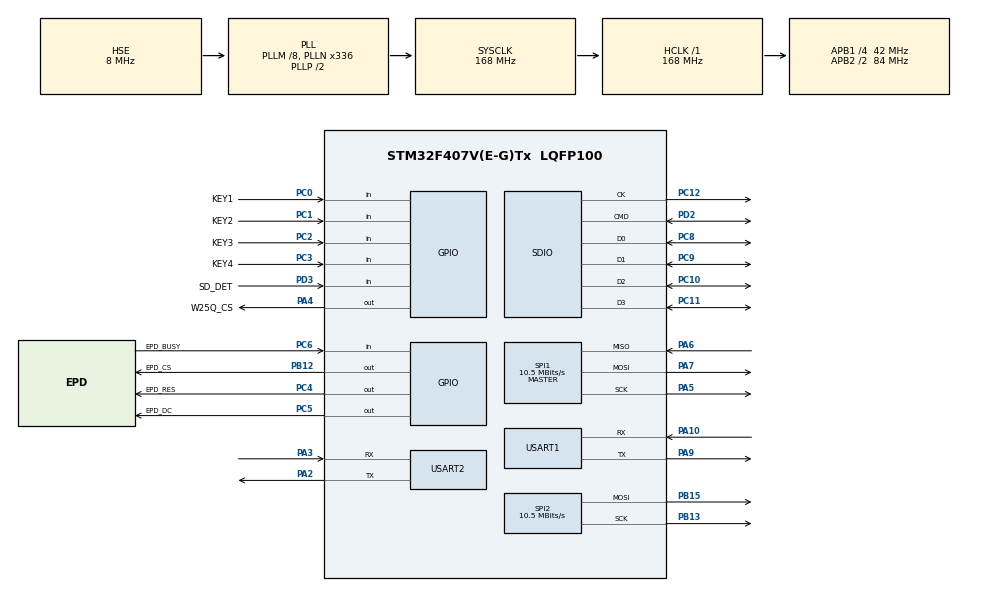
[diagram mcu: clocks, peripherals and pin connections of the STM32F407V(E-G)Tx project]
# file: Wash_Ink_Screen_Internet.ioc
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Dma.Request0=SPI1_TX
Dma.Request1=SPI2_TX
Dma.Request2=SDIO_RX
Dma.Request3=SDIO_TX
Dma.SDIO_RX.2.Direction=DMA_PERIPH_TO_MEMORY
Dma.SDIO_RX.2.FIFOMode=DMA_FIFOMODE_ENABLE
Dma.SDIO_RX.2.FIFOThreshold=DMA_FIFO_THRESHOLD_FULL
Dma.SDIO_RX.2.Instance=DMA2_Stream6
Dma.SDIO_RX.2.MemBurst=DMA_MBURST_INC4
Dma.SDIO_RX.2.MemDataAlignment=DMA_MDATAALIGN_WORD
Dma.SDIO_RX.2.MemInc=DMA_MINC_ENABLE
Dma.SDIO_RX.2.Mode=DMA_PFCTRL
Dma.SDIO_RX.2.PeriphBurst=DMA_PBURST_INC4
Dma.SDIO_RX.2.PeriphDataAlignment=DMA_PDATAALIGN_WORD
Dma.SDIO_RX.2.PeriphInc=DMA_PINC_DISABLE
Dma.SDIO_RX.2.Priority=DMA_PRIORITY_LOW
Dma.SDIO_TX.3.Direction=DMA_MEMORY_TO_PERIPH
Dma.SDIO_TX.3.FIFOMode=DMA_FIFOMODE_ENABLE
Dma.SDIO_TX.3.FIFOThreshold=DMA_FIFO_THRESHOLD_FULL
Dma.SDIO_TX.3.Instance=DMA2_Stream3
Dma.SDIO_TX.3.MemBurst=DMA_MBURST_INC4
Dma.SDIO_TX.3.MemDataAlignment=DMA_MDATAALIGN_WORD
Dma.SDIO_TX.3.MemInc=DMA_MINC_ENABLE
Dma.SDIO_TX.3.Mode=DMA_PFCTRL
Dma.SDIO_TX.3.PeriphBurst=DMA_PBURST_INC4
Dma.SDIO_TX.3.PeriphDataAlignment=DMA_PDATAALIGN_WORD
Dma.SDIO_TX.3.PeriphInc=DMA_PINC_DISABLE
Dma.SDIO_TX.3.Priority=DMA_PRIORITY_LOW
Dma.SPI1_TX.0.Direction=DMA_MEMORY_TO_PERIPH
Dma.SPI1_TX.0.FIFOMode=DMA_FIFOMODE_DISABLE
Dma.SPI1_TX.0.Instance=DMA2_Stream5
Dma.SPI1_TX.0.MemDataAlignment=DMA_MDATAALIGN_BYTE
Dma.SPI1_TX.0.MemInc=DMA_MINC_ENABLE
Dma.SPI1_TX.0.Mode=DMA_NORMAL
Dma.SPI1_TX.0.PeriphDataAlignment=DMA_PDATAALIGN_BYTE
Dma.SPI1_TX.0.PeriphInc=DMA_PINC_DISABLE
Dma.SPI1_TX.0.Priority=DMA_PRIORITY_LOW
Dma.SPI2_TX.1.Direction=DMA_MEMORY_TO_PERIPH
Dma.SPI2_TX.1.FIFOMode=DMA_FIFOMODE_DISABLE
Dma.SPI2_TX.1.Instance=DMA1_Stream4
Dma.SPI2_TX.1.MemDataAlignment=DMA_MDATAALIGN_BYTE
Dma.SPI2_TX.1.MemInc=DMA_MINC_ENABLE
Dma.SPI2_TX.1.Mode=DMA_NORMAL
Dma.SPI2_TX.1.PeriphDataAlignment=DMA_PDATAALIGN_BYTE
Dma.SPI2_TX.1.PeriphInc=DMA_PINC_DISABLE
Dma.SPI2_TX.1.Priority=DMA_PRIORITY_LOW
FATFS.BSP.number=1
FATFS._CODE_PAGE=936
FATFS._USE_LFN=3
FATFS0.BSP.STBoard=false
FATFS0.BSP.api=Unknown
FATFS0.BSP.instance=PD3
FATFS0.BSP.ip=GPIO
FATFS0.BSP.mode=Input
FATFS0.BSP.name=Detect_SDIO
FATFS0.BSP.solution=PD3
FREERTOS.Tasks01=defaultTask,24,1024,StartDefaultTask,Default,NULL,Dynamic,NULL,NULL
FREERTOS.configTOTAL_HEAP_SIZE=20480
Mcu.Family=STM32F4
Mcu.Name=STM32F407V(E-G)Tx
Mcu.Package=LQFP100
NVIC.DMA1_Stream4_IRQn=true\:6\:0\:true\:false\:true\:true\:false\:true\:true
NVIC.DMA2_Stream3_IRQn=true\:5\:0\:true\:false\:true\:true\:false\:true\:true
NVIC.DMA2_Stream5_IRQn=true\:5\:0\:false\:false\:true\:false\:false\:true\:true
NVIC.DMA2_Stream6_IRQn=true\:5\:0\:false\:false\:true\:true\:false\:true\:true
NVIC.PriorityGroup=NVIC_PRIORITYGROUP_4
NVIC.SDIO_IRQn=true\:5\:0\:false\:false\:true\:true\:true\:true\:true
NVIC.TIM6_DAC_IRQn=true\:15\:0\:false\:false\:true\:false\:false\:true\:true
NVIC.TimeBase=TIM6_DAC_IRQn
NVIC.TimeBaseIP=TIM6
NVIC.USART2_IRQn=true\:6\:0\:true\:false\:true\:true\:true\:true\:true
PA10.Mode=Asynchronous
PA10.Signal=USART1_RX
PA13.Mode=Serial_Wire
PA13.Signal=SYS_JTMS-SWDIO
PA14.Mode=Serial_Wire
PA14.Signal=SYS_JTCK-SWCLK
PA2.Mode=Asynchronous
PA2.Signal=USART2_TX
PA3.Mode=Asynchronous
PA3.Signal=USART2_RX
PA4.GPIO_Label=W25Q_CS
PA4.PinState=GPIO_PIN_SET
PA4.Signal=GPIO_Output
PA5.Mode=Full_Duplex_Master
PA5.Signal=SPI1_SCK
PA6.Mode=Full_Duplex_Master
PA6.Signal=SPI1_MISO
PA7.Mode=Full_Duplex_Master
PA7.Signal=SPI1_MOSI
PA9.Mode=Asynchronous
PA9.Signal=USART1_TX
PB12.GPIO_Label=EPD_CS
PB12.PinState=GPIO_PIN_SET
PB12.Signal=GPIO_Output
PB13.Mode=TX_Only_Simplex_Unidirect_Master
PB13.Signal=SPI2_SCK
PB15.Mode=TX_Only_Simplex_Unidirect_Master
PB15.Signal=SPI2_MOSI
PC0.GPIO_Label=KEY1
PC0.GPIO_PuPd=GPIO_PULLUP
PC0.Signal=GPIO_Input
PC1.GPIO_Label=KEY2
PC1.GPIO_PuPd=GPIO_PULLUP
PC1.Signal=GPIO_Input
PC10.Mode=SD_4_bits_Wide_bus
PC10.Signal=SDIO_D2
PC11.Mode=SD_4_bits_Wide_bus
PC11.Signal=SDIO_D3
PC12.Mode=SD_4_bits_Wide_bus
PC12.Signal=SDIO_CK
PC2.GPIO_Label=KEY3
PC2.GPIO_PuPd=GPIO_PULLUP
PC2.Signal=GPIO_Input
PC3.GPIO_Label=KEY4
PC3.GPIO_PuPd=GPIO_PULLUP
PC3.Signal=GPIO_Input
PC4.GPIO_Label=EPD_RES
PC4.PinState=GPIO_PIN_SET
PC4.Signal=GPIO_Output
PC5.GPIO_Label=EPD_DC
PC5.PinState=GPIO_PIN_RESET
PC5.Signal=GPIO_Output
PC6.GPIO_Label=EPD_BUSY
PC6.Signal=GPIO_Input
PC8.Mode=SD_4_bits_Wide_bus
PC8.Signal=SDIO_D0
PC9.Mode=SD_4_bits_Wide_bus
PC9.Signal=SDIO_D1
PD2.Mode=SD_4_bits_Wide_bus
PD2.Signal=SDIO_CMD
PD3.GPIO_Label=SD_DET
PD3.GPIO_PuPd=GPIO_PULLUP
PD3.Signal=GPIO_Input
PH0-OSC_IN.Mode=HSE-External-Oscillator
PH0-OSC_IN.Signal=RCC_OSC_IN
PH1-OSC_OUT.Mode=HSE-External-Oscillator
PH1-OSC_OUT.Signal=RCC_OSC_OUT
ProjectManager.HeapSize=0x200
ProjectManager.StackSize=0x400
ProjectManager.TargetToolchain=CMake
RCC.48MHZClocksFreq_Value=48000000
RCC.AHBFreq_Value=168000000
RCC.APB1CLKDivider=RCC_HCLK_DIV4
RCC.APB1Freq_Value=42000000
RCC.APB1TimFreq_Value=84000000
RCC.APB2CLKDivider=RCC_HCLK_DIV2
RCC.APB2Freq_Value=84000000
RCC.APB2TimFreq_Value=168000000
RCC.CortexFreq_Value=168000000
RCC.HCLKFreq_Value=168000000
RCC.HSE_VALUE=8000000
RCC.HSI_VALUE=16000000
RCC.LSE_VALUE=32768
RCC.PLLM=8
RCC.PLLN=336
RCC.PLLQ=7
RCC.PLLSourceVirtual=RCC_PLLSOURCE_HSE
RCC.SYSCLKFreq_VALUE=168000000
RCC.SYSCLKSource=RCC_SYSCLKSOURCE_PLLCLK
RCC.VCOOutputFreq_Value=336000000
SPI1.BaudRatePrescaler=SPI_BAUDRATEPRESCALER_8
SPI1.CalculateBaudRate=10.5 MBits/s
SPI1.Direction=SPI_DIRECTION_2LINES
SPI1.Mode=SPI_MODE_MASTER
SPI1.VirtualType=VM_MASTER
SPI2.BaudRatePrescaler=SPI_BAUDRATEPRESCALER_4
SPI2.CalculateBaudRate=10.5 MBits/s
SPI2.Direction=SPI_DIRECTION_2LINES
SPI2.Mode=SPI_MODE_MASTER
SPI2.VirtualType=VM_MASTER
USART1.VirtualMode=VM_ASYNC
USART2.VirtualMode=VM_ASYNC
VP_FATFS_VS_SDIO.Mode=SDIO
VP_FREERTOS_VS_CMSIS_V2.Mode=CMSIS_V2
VP_SYS_VS_tim6.Mode=TIM6
board=custom

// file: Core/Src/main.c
/* USER CODE BEGIN Header */
/**
  ******************************************************************************
  * @file           : main.c
  * @brief          : Main program body
  ******************************************************************************
  * @attention
  *
  * Copyright (c) 2026 STMicroelectronics.
  * All rights reserved.
  *
  * This software is licensed under terms that can be found in the LICENSE file
  * in the root directory of this software component.
  * If no LICENSE file comes with this software, it is provided AS-IS.
  *
  ******************************************************************************
  */
/* USER CODE END Header */
#include "main.h"
#include "cmsis_os.h"
#include "fatfs.h"

/* USER CODE BEGIN Includes */
#include "spi_bsp.h"
#include "ipc.h"        /* IPC_Init: 创建队列和信号量 */
#include "debug_log.h"  /* DBG_TaskStart: 串口调试任务（DBG_ENABLE=0 时编译期消除） */
#include "key_task.h"   /* Key_TaskStart */
#include "epd_task.h"   /* EPD_TaskStart */
#include "app_task.h"   /* App_Task */

#include "wifi_task.h"
/* USER CODE END Includes */

SD_HandleTypeDef hsd;
DMA_HandleTypeDef hdma_sdio_rx;
DMA_HandleTypeDef hdma_sdio_tx;

SPI_HandleTypeDef hspi1;
SPI_HandleTypeDef hspi2;
DMA_HandleTypeDef hdma_spi1_tx;
DMA_HandleTypeDef hdma_spi2_tx;

UART_HandleTypeDef huart1;
UART_HandleTypeDef huart2;

/* Definitions for defaultTask */
osThreadId_t defaultTaskHandle;
const osThreadAttr_t defaultTask_attributes = {
  .name = "defaultTask",
  .stack_size = 1024 * 4,
  .priority = (osPriority_t) osPriorityNormal,
};

void SystemClock_Config(void);
static void MX_GPIO_Init(void);
static void MX_DMA_Init(void);
static void MX_SPI1_Init(void);
static void MX_SPI2_Init(void);
static void MX_USART1_UART_Init(void);
static void MX_SDIO_SD_Init(void);
static void MX_USART2_UART_Init(void);
void StartDefaultTask(void *argument);

int main(void)
{

  /* MCU Configuration--------------------------------------------------------*/

  /* Reset of all peripherals, Initializes the Flash interface and the Systick. */
  HAL_Init();

  /* Configure the system clock */
  SystemClock_Config();

  /* Initialize all configured peripherals */
  MX_GPIO_Init();
  MX_DMA_Init();
  MX_SPI1_Init();
  MX_SPI2_Init();
  MX_USART1_UART_Init();
  MX_SDIO_SD_Init();
  MX_FATFS_Init();
  MX_USART2_UART_Init();
  /* USER CODE BEGIN 2 */
  SPI_BSP_Init();   /* create DMA semaphores for SPI1 and SPI2 */
  /* USER CODE END 2 */

  /* Init scheduler */
  osKernelInitialize();

  /* USER CODE BEGIN RTOS_QUEUES */
  IPC_Init();   /* 创建 g_key_queue / g_epd_queue / g_epd_done */
  /* USER CODE END RTOS_QUEUES */

  /* Create the thread(s) */
  /* creation of defaultTask */
  defaultTaskHandle = osThreadNew(StartDefaultTask, NULL, &defaultTask_attributes);

  /* USER CODE BEGIN RTOS_THREADS */
  DBG_TaskStart();   /* 串口调试任务：osPriorityLow，异步消费日志队列 */
  Key_TaskStart();   /* 按键扫描任务：osPriorityAboveNormal，每 10ms 采样 */
  EPD_TaskStart();   /* EPD 硬件操作任务：osPriorityNormal */
  WiFi_TaskStart();
  /* USER CODE END RTOS_THREADS */

  /* Start scheduler */
  osKernelStart();

  /* We should never get here as control is now taken by the scheduler */

  /* Infinite loop */
  while (1)
  {

  }
}

void SystemClock_Config(void)
{
  RCC_OscInitTypeDef RCC_OscInitStruct = {0};
  RCC_ClkInitTypeDef RCC_ClkInitStruct = {0};

  /** Configure the main internal regulator output voltage
  */
  __HAL_RCC_PWR_CLK_ENABLE();
  __HAL_PWR_VOLTAGESCALING_CONFIG(PWR_REGULATOR_VOLTAGE_SCALE1);

  /** Initializes the RCC Oscillators according to the specified parameters
  * in the RCC_OscInitTypeDef structure.
  */
  RCC_OscInitStruct.OscillatorType = RCC_OSCILLATORTYPE_HSE;
  RCC_OscInitStruct.HSEState = RCC_HSE_ON;
  RCC_OscInitStruct.PLL.PLLState = RCC_PLL_ON;
  RCC_OscInitStruct.PLL.PLLSource = RCC_PLLSOURCE_HSE;
  RCC_OscInitStruct.PLL.PLLM = 8;
  RCC_OscInitStruct.PLL.PLLN = 336;
  RCC_OscInitStruct.PLL.PLLP = RCC_PLLP_DIV2;
  RCC_OscInitStruct.PLL.PLLQ = 7;
  if (HAL_RCC_OscConfig(&RCC_OscInitStruct) != HAL_OK)
  {
    Error_Handler();
  }

  /** Initializes the CPU, AHB and APB buses clocks
  */
  RCC_ClkInitStruct.ClockType = RCC_CLOCKTYPE_HCLK|RCC_CLOCKTYPE_SYSCLK
                              |RCC_CLOCKTYPE_PCLK1|RCC_CLOCKTYPE_PCLK2;
  RCC_ClkInitStruct.SYSCLKSource = RCC_SYSCLKSOURCE_PLLCLK;
  RCC_ClkInitStruct.AHBCLKDivider = RCC_SYSCLK_DIV1;
  RCC_ClkInitStruct.APB1CLKDivider = RCC_HCLK_DIV4;
  RCC_ClkInitStruct.APB2CLKDivider = RCC_HCLK_DIV2;

  if (HAL_RCC_ClockConfig(&RCC_ClkInitStruct, FLASH_LATENCY_5) != HAL_OK)
  {
    Error_Handler();
  }
}

static void MX_SDIO_SD_Init(void)
{

  hsd.Instance = SDIO;
  hsd.Init.ClockEdge = SDIO_CLOCK_EDGE_RISING;
  hsd.Init.ClockBypass = SDIO_CLOCK_BYPASS_DISABLE;
  hsd.Init.ClockPowerSave = SDIO_CLOCK_POWER_SAVE_DISABLE;
  hsd.Init.BusWide = SDIO_BUS_WIDE_1B;
  hsd.Init.HardwareFlowControl = SDIO_HARDWARE_FLOW_CONTROL_DISABLE;
  hsd.Init.ClockDiv = 0;

}

static void MX_SPI1_Init(void)
{

  /* SPI1 parameter configuration*/
  hspi1.Instance = SPI1;
  hspi1.Init.Mode = SPI_MODE_MASTER;
  hspi1.Init.Direction = SPI_DIRECTION_2LINES;
  hspi1.Init.DataSize = SPI_DATASIZE_8BIT;
  hspi1.Init.CLKPolarity = SPI_POLARITY_LOW;
  hspi1.Init.CLKPhase = SPI_PHASE_1EDGE;
  hspi1.Init.NSS = SPI_NSS_SOFT;
  hspi1.Init.BaudRatePrescaler = SPI_BAUDRATEPRESCALER_8;
  hspi1.Init.FirstBit = SPI_FIRSTBIT_MSB;
  hspi1.Init.TIMode = SPI_TIMODE_DISABLE;
  hspi1.Init.CRCCalculation = SPI_CRCCALCULATION_DISABLE;
  hspi1.Init.CRCPolynomial = 10;
  if (HAL_SPI_Init(&hspi1) != HAL_OK)
  {
    Error_Handler();
  }

}

static void MX_SPI2_Init(void)
{

  /* SPI2 parameter configuration*/
  hspi2.Instance = SPI2;
  hspi2.Init.Mode = SPI_MODE_MASTER;
  hspi2.Init.Direction = SPI_DIRECTION_2LINES;
  hspi2.Init.DataSize = SPI_DATASIZE_8BIT;
  hspi2.Init.CLKPolarity = SPI_POLARITY_LOW;
  hspi2.Init.CLKPhase = SPI_PHASE_1EDGE;
  hspi2.Init.NSS = SPI_NSS_SOFT;
  hspi2.Init.BaudRatePrescaler = SPI_BAUDRATEPRESCALER_4;
  hspi2.Init.FirstBit = SPI_FIRSTBIT_MSB;
  hspi2.Init.TIMode = SPI_TIMODE_DISABLE;
  hspi2.Init.CRCCalculation = SPI_CRCCALCULATION_DISABLE;
  hspi2.Init.CRCPolynomial = 10;
  if (HAL_SPI_Init(&hspi2) != HAL_OK)
  {
    Error_Handler();
  }

}

static void MX_USART1_UART_Init(void)
{

  huart1.Instance = USART1;
  huart1.Init.BaudRate = 115200;
  huart1.Init.WordLength = UART_WORDLENGTH_8B;
  huart1.Init.StopBits = UART_STOPBITS_1;
  huart1.Init.Parity = UART_PARITY_NONE;
  huart1.Init.Mode = UART_MODE_TX_RX;
  huart1.Init.HwFlowCtl = UART_HWCONTROL_NONE;
  huart1.Init.OverSampling = UART_OVERSAMPLING_16;
  if (HAL_UART_Init(&huart1) != HAL_OK)
  {
    Error_Handler();
  }

}

static void MX_USART2_UART_Init(void)
{

  huart2.Instance = USART2;
  huart2.Init.BaudRate = 921600;
  huart2.Init.WordLength = UART_WORDLENGTH_8B;
  huart2.Init.StopBits = UART_STOPBITS_1;
  huart2.Init.Parity = UART_PARITY_NONE;
  huart2.Init.Mode = UART_MODE_TX_RX;
  huart2.Init.HwFlowCtl = UART_HWCONTROL_NONE;
  huart2.Init.OverSampling = UART_OVERSAMPLING_16;
  if (HAL_UART_Init(&huart2) != HAL_OK)
  {
    Error_Handler();
  }

}

static void MX_DMA_Init(void)
{

  /* DMA controller clock enable */
  __HAL_RCC_DMA2_CLK_ENABLE();
  __HAL_RCC_DMA1_CLK_ENABLE();

  /* DMA interrupt init */
  /* DMA1_Stream4_IRQn interrupt configuration */
  HAL_NVIC_SetPriority(DMA1_Stream4_IRQn, 6, 0);
  HAL_NVIC_EnableIRQ(DMA1_Stream4_IRQn);
  /* DMA2_Stream3_IRQn interrupt configuration */
  HAL_NVIC_SetPriority(DMA2_Stream3_IRQn, 5, 0);
  HAL_NVIC_EnableIRQ(DMA2_Stream3_IRQn);
  /* DMA2_Stream5_IRQn interrupt configuration */
  HAL_NVIC_SetPriority(DMA2_Stream5_IRQn, 5, 0);
  HAL_NVIC_EnableIRQ(DMA2_Stream5_IRQn);
  /* DMA2_Stream6_IRQn interrupt configuration */
  HAL_NVIC_SetPriority(DMA2_Stream6_IRQn, 5, 0);
  HAL_NVIC_EnableIRQ(DMA2_Stream6_IRQn);

}

static void MX_GPIO_Init(void)
{
  GPIO_InitTypeDef GPIO_InitStruct = {0};

  /* GPIO Ports Clock Enable */
  __HAL_RCC_GPIOH_CLK_ENABLE();
  __HAL_RCC_GPIOC_CLK_ENABLE();
  __HAL_RCC_GPIOA_CLK_ENABLE();
  __HAL_RCC_GPIOB_CLK_ENABLE();
  __HAL_RCC_GPIOD_CLK_ENABLE();

  /*Configure GPIO pin Output Level */
  HAL_GPIO_WritePin(W25Q_CS_GPIO_Port, W25Q_CS_Pin, GPIO_PIN_SET);

  /*Configure GPIO pin Output Level */
  HAL_GPIO_WritePin(EPD_RES_GPIO_Port, EPD_RES_Pin, GPIO_PIN_SET);

  /*Configure GPIO pin Output Level */
  HAL_GPIO_WritePin(EPD_DC_GPIO_Port, EPD_DC_Pin, GPIO_PIN_RESET);

  /*Configure GPIO pin Output Level */
  HAL_GPIO_WritePin(EPD_CS_GPIO_Port, EPD_CS_Pin, GPIO_PIN_SET);

  /*Configure GPIO pins : KEY1_Pin KEY2_Pin KEY3_Pin KEY4_Pin */
  GPIO_InitStruct.Pin = KEY1_Pin|KEY2_Pin|KEY3_Pin|KEY4_Pin;
  GPIO_InitStruct.Mode = GPIO_MODE_INPUT;
  GPIO_InitStruct.Pull = GPIO_PULLUP;
  HAL_GPIO_Init(GPIOC, &GPIO_InitStruct);

  /*Configure GPIO pin : W25Q_CS_Pin */
  GPIO_InitStruct.Pin = W25Q_CS_Pin;
  GPIO_InitStruct.Mode = GPIO_MODE_OUTPUT_PP;
  GPIO_InitStruct.Pull = GPIO_NOPULL;
  GPIO_InitStruct.Speed = GPIO_SPEED_FREQ_LOW;
  HAL_GPIO_Init(W25Q_CS_GPIO_Port, &GPIO_InitStruct);

  /*Configure GPIO pins : EPD_RES_Pin EPD_DC_Pin */
  GPIO_InitStruct.Pin = EPD_RES_Pin|EPD_DC_Pin;
  GPIO_InitStruct.Mode = GPIO_MODE_OUTPUT_PP;
  GPIO_InitStruct.Pull = GPIO_NOPULL;
  GPIO_InitStruct.Speed = GPIO_SPEED_FREQ_LOW;
  HAL_GPIO_Init(GPIOC, &GPIO_InitStruct);

  /*Configure GPIO pin : EPD_CS_Pin */
  GPIO_InitStruct.Pin = EPD_CS_Pin;
  GPIO_InitStruct.Mode = GPIO_MODE_OUTPUT_PP;
  GPIO_InitStruct.Pull = GPIO_NOPULL;
  GPIO_InitStruct.Speed = GPIO_SPEED_FREQ_LOW;
  HAL_GPIO_Init(EPD_CS_GPIO_Port, &GPIO_InitStruct);

  /*Configure GPIO pin : EPD_BUSY_Pin */
  GPIO_InitStruct.Pin = EPD_BUSY_Pin;
  GPIO_InitStruct.Mode = GPIO_MODE_INPUT;
  GPIO_InitStruct.Pull = GPIO_NOPULL;
  HAL_GPIO_Init(EPD_BUSY_GPIO_Port, &GPIO_InitStruct);

  /*Configure GPIO pin : SD_DET_Pin */
  GPIO_InitStruct.Pin = SD_DET_Pin;
  GPIO_InitStruct.Mode = GPIO_MODE_INPUT;
  GPIO_InitStruct.Pull = GPIO_PULLUP;
  HAL_GPIO_Init(SD_DET_GPIO_Port, &GPIO_InitStruct);

}

void StartDefaultTask(void *argument)
{
  /* USER CODE BEGIN 5 */
  App_Task(argument);   /* 应用主逻辑：文件浏览器 + 文件阅读器 */
  for (;;) {
      osDelay(1000);
  }
  /* USER CODE END 5 */
}

void HAL_TIM_PeriodElapsedCallback(TIM_HandleTypeDef *htim)
{
  if (htim->Instance == TIM6)
  {
    HAL_IncTick();
  }
}

void Error_Handler(void)
{
  __disable_irq();
  while (1)
  {
  }
}
